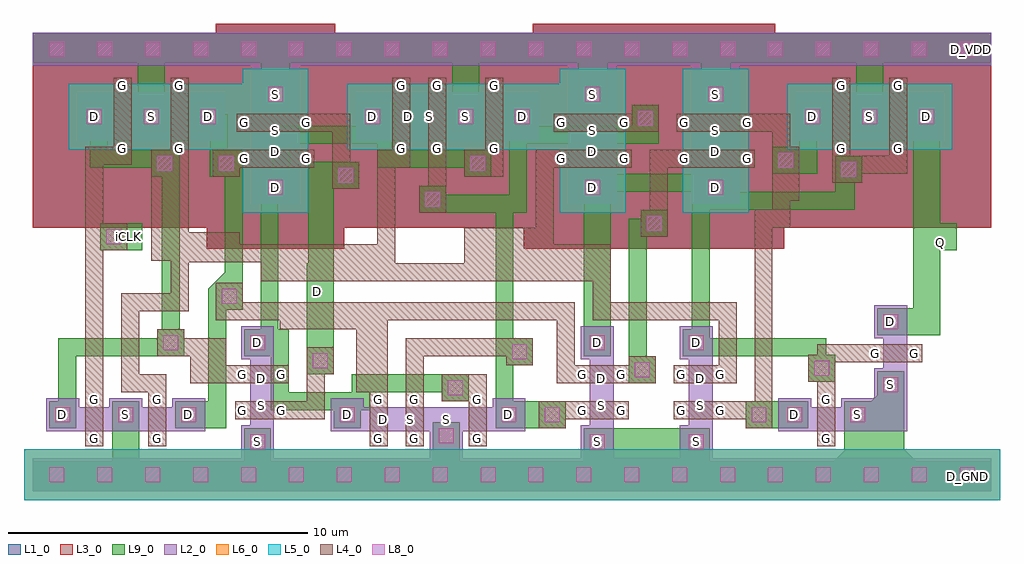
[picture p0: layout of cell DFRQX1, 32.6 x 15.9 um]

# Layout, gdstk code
import gdstk
lib = gdstk.Library(unit=1e-6, precision=1e-09)
def R(c, l, rs):  # rectangles x0, y0, x1, y1
    for r in rs: c.add(gdstk.rectangle(r[:2], r[2:], *l))
def A(c, l, x, y, w, h, nx, ny, dx, dy):  # array of equal rectangles
    R(c, l, [(x+i*dx, y+j*dy, x+i*dx+w, y+j*dy+h) for i in range(nx) for j in range(ny)])
def P(c, l, *ps):  # polygons
    for p in ps: c.add(gdstk.Polygon(p, *l))
L1_0 = (1, 0)
L2_0 = (2, 0)
L3_0 = (3, 0)
L4_0 = (4, 0)
L5_0 = (5, 0)
L6_0 = (6, 0)
L8_0 = (8, 0)
L9_0 = (9, 0)

dfrqx1 = lib.new_cell('DFRQX1')
A(dfrqx1, L1_0, 0, 8.8, 1.6, 6.5, 20, 1, 1.6, 0)
R(dfrqx1, L1_0, [(5.8,8.1,10.4,14.1), (16.4,8.1,21,14.1), (20.5,8.1,25.1,14.1), (5.8,9.3,10.4,15.3), (16.4,9.3,21,15.3), (20.5,9.3,25.1,15.3), (0,10.2,6,14.8), (1.9,10.2,7.9,14.8), (9.3,10.2,15.3,14.8), (10.5,10.2,16.5,14.8), (12.4,10.2,18.4,14.8), (24,10.2,30,14.8), (25.9,10.2,31.9,14.8), (6.1,15.3,10.1,15.6), (16.7,15.3,20.7,15.6), (20.7,15.3,24.8,15.6)])
A(dfrqx1, L2_0, 0, 0, 1.6, 1.1, 20, 2, 1.6, 14.2)
R(dfrqx1, L2_0, [(6.95,1.1,8.05,2.2), (13.25,1.1,14.35,2.8), (18.3,1.1,19.4,2.2), (21.6,1.1,22.7,2.2), (13.25,1.3,14.35,2.4), (0.45,2,1.55,3.1), (1.55,2,2.55,2.8), (2.55,2,3.65,3.1), (2.55,2,3.65,3.1), (3.65,2,4.65,2.8), (4.65,2,5.75,3.1), (9.95,2,11.05,3.1), (11.05,2,12.05,2.8), (11.15,2,12.25,2.8), (12.05,2,13.15,2.8), (12.25,2,13.25,2.8), (13.25,2,14.35,2.8), (13.25,2,14.35,2.8), (14.35,2,15.35,2.8), (15.35,2,16.45,3.1), (24.9,2,26,3.1), (26,2,27,2.8), (27,2,28.1,3.1), (28.05,2,29.2,3), (7.25,2.2,8.05,3.2), (18.6,2.2,19.4,3.2), (21.9,2.2,22.7,3.2), (7.25,2.3,8.05,3.4), (18.6,2.3,19.4,3.4), (21.9,2.3,22.7,3.4), (28.1,3,29.2,4.1), (7.25,3.2,8.05,4.3), (18.6,3.2,19.4,4.3), (21.9,3.2,22.7,4.3), (7.25,3.4,8.05,4.4), (18.6,3.4,19.4,4.4), (21.9,3.4,22.7,4.4), (28.4,4.1,29.2,5.1), (6.95,4.4,8.05,5.5), (18.3,4.4,19.4,5.5), (21.6,4.4,22.7,5.5), (28.1,5.1,29.2,6.2), (7.3,9.6,8.9,10.7), (17.9,9.6,19.5,10.7), (22,9.6,23.6,10.7), (7.3,10.7,8.9,11.5), (17.9,10.7,19.5,11.5), (22,10.7,23.6,11.5), (7.3,10.8,8.9,11.9), (17.9,10.8,19.5,11.9), (22,10.8,23.6,11.9), (7.3,11.5,8.9,12.6), (17.9,11.5,19.5,12.6), (22,11.5,23.6,12.6), (1.5,11.7,2.6,13.3), (2.6,11.7,3.4,13.3), (3.4,11.7,4.5,13.3), (3.4,11.7,4.5,13.3), (4.5,11.7,5.3,13.3), (5.3,11.7,6.4,13.3), (10.8,11.7,11.9,13.3), (11.9,11.7,12.7,13.3), (12,11.7,13.1,13.3), (12.7,11.7,13.8,13.3), (13.1,11.7,13.9,13.3), (13.9,11.7,15,13.3), (13.9,11.7,15,13.3), (15,11.7,15.8,13.3), (15.8,11.7,16.9,13.3), (25.5,11.7,26.6,13.3), (26.6,11.7,27.4,13.3), (27.4,11.7,28.5,13.3), (27.4,11.7,28.5,13.3), (28.5,11.7,29.3,13.3), (29.3,11.7,30.4,13.3), (7.3,11.9,8.9,12.7), (17.9,11.9,19.5,12.7), (22,11.9,23.6,12.7), (7.3,12.7,8.9,13.8), (17.9,12.7,19.5,13.8), (22,12.7,23.6,13.8), (7.3,13.8,8.9,14.2), (17.9,13.8,19.5,14.2), (22,13.8,23.6,14.2)])
A(dfrqx1, L3_0, 0, 8.8, 1.6, 6.5, 20, 1, 1.6, 0)
R(dfrqx1, L3_0, [(5.8,8.1,10.4,14.1), (16.4,8.1,21,14.1), (20.5,8.1,25.1,14.1), (5.8,9.3,10.4,15.3), (16.4,9.3,21,15.3), (20.5,9.3,25.1,15.3), (0,10.2,6,14.8), (1.9,10.2,7.9,14.8), (9.3,10.2,15.3,14.8), (10.5,10.2,16.5,14.8), (12.4,10.2,18.4,14.8), (24,10.2,30,14.8), (25.9,10.2,31.9,14.8), (6.1,15.3,10.1,15.6), (16.7,15.3,20.7,15.6), (20.7,15.3,24.8,15.6)])
R(dfrqx1, L4_0, [(1.75,1.5,2.35,2), (1.75,1.5,2.35,3.3), (3.85,1.5,4.45,2), (3.85,1.5,4.45,3.3), (11.25,1.5,11.85,2), (11.25,1.5,11.85,3.3), (12.45,1.5,13.05,2), (12.45,1.5,13.05,3.3), (14.55,1.5,15.15,2), (14.55,1.5,15.15,3.3), (26.2,1.5,26.8,2), (26.2,1.5,26.8,3.3), (16.9,2.1,17.8,3), (23.8,2.1,24.7,3), (6.75,2.4,7.25,3), (6.75,2.4,8.55,3), (8.05,2.4,8.55,3), (17.65,2.4,18.35,3), (18.1,2.4,18.6,3), (18.1,2.4,19.9,3), (19.4,2.4,19.9,3), (21.4,2.4,21.9,3), (21.4,2.4,23.2,3), (22.7,2.4,23.2,3), (14.55,2.7,15.15,3.9), (1.75,2.8,2.35,3.3), (3.85,2.8,4.45,3.3), (11.25,2.8,11.85,3.3), (12.45,2.8,13.05,3.3), (14.55,2.8,15.15,3.3), (26.2,2.8,26.8,3.3), (13.65,3,14.55,3.9), (6.75,3.6,7.25,4.2), (6.75,3.6,8.55,4.2), (8.05,3.6,8.55,4.2), (18.1,3.6,18.6,4.2), (18.1,3.6,19.9,4.2), (19.4,3.6,19.9,4.2), (19.9,3.6,20.8,4.5), (21.4,3.6,21.9,4.2), (21.4,3.6,23.2,4.2), (22.7,3.6,23.2,4.2), (25.9,3.65,26.8,4.55), (9.15,3.9,10.05,4.8), (11.4,3.9,11.85,5.7), (5.85,4.2,6.45,5.1), (15.8,4.2,16.7,5.1), (27.9,4.3,28.4,4.9), (27.9,4.3,29.7,4.9), (29.2,4.3,29.7,4.9), (4.15,4.5,5.05,5.4), (8.85,6,10.8,6.3), (10.8,6,11,6.3), (6.1,6.05,7,6.95), (7.6,7,11.5,7.65), (15,7,18.7,7.65), (5.2,7.65,5.4,8.65), (15,7.65,15.2,8.2), (3.95,7.7,4.6,10.5), (2.25,8.05,3.15,8.95), (5.4,8.25,6.9,8.65), (20.3,8.5,21.2,9.4), (12.9,9.3,13.8,10.2), (25.3,9.7,25.6,10.6), (10,10.1,10.9,11), (13.2,10.2,13.8,11.2), (26.7,10.3,26.8,11.2), (26.8,10.3,27.7,11.2), (3.95,10.5,4.85,11.4), (6,10.5,6.9,11.4), (14.4,10.5,15.3,11.4), (15.3,10.5,15.7,11.2), (24.7,10.6,25.6,11.5), (27.7,10.6,29.2,11.2), (6.8,10.8,9.4,11.4), (6.8,10.8,7.3,11.4), (8.9,10.8,9.4,11.4), (17.35,10.8,17.45,11.4), (17.4,10.8,20,11.4), (17.4,10.8,17.9,11.4), (19.5,10.8,20,11.4), (21.5,10.8,24.1,11.4), (21.5,10.8,22,11.4), (23.6,10.8,24.1,11.4), (2.7,11.2,3.3,13.8), (2.7,11.2,3.3,11.7), (4.6,11.2,5.2,13.8), (4.6,11.2,5.2,11.7), (12,11.2,12.6,13.8), (12,11.2,12.6,11.7), (13.2,11.2,13.8,13.8), (13.2,11.2,13.8,11.7), (15.1,11.2,15.7,13.8), (15.1,11.2,15.7,11.7), (26.7,11.2,27.3,13.8), (26.7,11.2,27.3,11.7), (28.6,11.2,29.2,13.8), (28.6,11.2,29.2,11.7), (6.8,12,9.4,12.6), (6.8,12,7.3,12.6), (8.9,12,9.4,12.6), (17.4,12,20,12.6), (17.4,12,17.9,12.6), (19.5,12,20,12.6), (20,12,20.9,12.9), (21.5,12,24.1,12.6), (21.5,12,22,12.6), (23.6,12,24.1,12.6), (2.7,13.3,3.3,13.8), (4.6,13.3,5.2,13.8), (12,13.3,12.6,13.8), (13.2,13.3,13.8,13.8), (15.1,13.3,15.7,13.8), (26.7,13.3,27.3,13.8), (28.6,13.3,29.2,13.8)])
P(dfrqx1, L4_0, [(12.45,2.7),(13.05,2.7),(13.05,4.5),(16.35,4.5),(16.35,5.1),(12.45,5.1)],
  [(4.35,4.5),(5.25,4.5),(5.25,3.6),(6.75,3.6),(6.75,4.2),(5.85,4.2),(5.85,5.1),(4.35,5.1)],
  [(10.8,3.3),(11.85,3.3),(11.85,3.9),(11.4,3.9),(11.4,5.4),(10.8,5.4)],
  [(8.55,2.4),(9.75,2.4),(9.75,4.5),(9.15,4.5),(9.15,3),(8.55,3)],
  [(26.2,3.3),(26.8,3.3),(26.8,4.3),(27.9,4.3),(27.9,4.9),(26.2,4.9)],
  [(20.65,5.7),(22.9,5.7),(22.9,3.6),(23.5,3.6),(23.5,6.3),(20.65,6.3)],
  [(11.5,7),(15,7),(15,8.2),(17.4,8.2),(17.4,11.4),(16.8,11.4),(16.8,8.8),(14.4,8.8),(14.4,7.6),(12.1,7.6),(12.1,7.65),(11.5,7.65)],
  [(23.15,2.4),(24.7,2.4),(24.7,8.8),(25.3,8.8),(25.3,12.6),(24.1,12.6),(24.1,12),(24.7,12),(24.7,9.4),(24.1,9.4),(24.1,3),(23.15,3)],
  [(6.1,5.7),(8.25,5.7),(8.25,5.4),(11.4,5.4),(11.4,6),(8.85,6),(8.85,6.3),(6.1,6.3)],
  [(11,5.7),(17.5,5.7),(17.5,3.6),(18.1,3.6),(18.1,6.3),(11,6.3)],
  [(5.4,7.65),(12.1,7.65),(12.1,10.8),(12.6,10.8),(12.6,11.4),(11.5,11.4),(11.5,8.25),(5.4,8.25)],
  [(15.2,7.65),(18.7,7.65),(18.7,5.7),(20.65,5.7),(20.65,6.3),(19.3,6.3),(19.3,8.25),(15.2,8.25)],
  [(2.95,3.3),(4.45,3.3),(4.45,3.9),(3.55,3.9),(3.55,6),(5.2,6),(5.2,11.2),(4.6,11.2),(4.6,6.6),(2.95,6.6)],
  [(9.4,12),(10,12),(10,10.4),(10.6,10.4),(10.6,12.6),(9.4,12.6)],
  [(1.75,3.3),(2.35,3.3),(2.35,10.9),(3.3,10.9),(3.3,11.5),(1.75,11.5)],
  [(20.6,9.4),(21.2,9.4),(21.2,10.8),(21.5,10.8),(21.5,11.4),(20.6,11.4)])
A(dfrqx1, L5_0, 1.6, -0.3, 1.6, 1.7, 18, 1, 1.6, 0)
R(dfrqx1, L5_0, [(-0.3,-0.3,1.6,1.4), (30.4,-0.3,32.3,1.4), (7,9.3,9.2,12.9), (17.6,9.3,19.8,12.9), (21.7,9.3,23.9,12.9), (7,10.5,9.2,14.1), (17.6,10.5,19.8,14.1), (21.7,10.5,23.9,14.1), (1.2,11.4,4.8,13.6), (3.1,11.4,6.7,13.6), (6.7,11.4,7,13.6), (10.5,11.4,14.1,13.6), (11.7,11.4,15.3,13.6), (13.6,11.4,17.2,13.6), (17.2,11.4,17.65,13.6), (25.2,11.4,28.8,13.6), (27.1,11.4,30.7,13.6)])
A(dfrqx1, L6_0, 1.6, -0.3, 1.6, 1.7, 18, 1, 1.6, 0)
R(dfrqx1, L6_0, [(-0.3,-0.3,1.6,1.4), (30.4,-0.3,32.3,1.4), (7,9.3,9.2,12.9), (17.6,9.3,19.8,12.9), (21.7,9.3,23.9,12.9), (7,10.5,9.2,14.1), (17.6,10.5,19.8,14.1), (21.7,10.5,23.9,14.1), (1.2,11.4,4.8,13.6), (3.1,11.4,6.7,13.6), (6.7,11.4,7,13.6), (10.5,11.4,14.1,13.6), (11.7,11.4,15.3,13.6), (13.6,11.4,17.2,13.6), (17.2,11.4,17.65,13.6), (25.2,11.4,28.8,13.6), (27.1,11.4,30.7,13.6)])
A(dfrqx1, L8_0, 0.55, 0.3, 0.5, 0.5, 20, 2, 1.6, 14.2)
R(dfrqx1, L8_0, [(7.25,1.4,7.75,1.9), (18.6,1.4,19.1,1.9), (21.9,1.4,22.4,1.9), (13.55,1.6,14.05,2.1), (0.75,2.3,1.25,2.8), (2.85,2.3,3.35,2.8), (2.85,2.3,3.35,2.8), (4.95,2.3,5.45,2.8), (10.25,2.3,10.75,2.8), (15.65,2.3,16.15,2.8), (17.1,2.3,17.6,2.8), (24,2.3,24.5,2.8), (25.2,2.3,25.7,2.8), (27.3,2.3,27.8,2.8), (13.85,3.2,14.35,3.7), (28.4,3.3,28.9,3.8), (20.1,3.8,20.6,4.3), (26.1,3.85,26.6,4.35), (9.35,4.1,9.85,4.6), (16,4.4,16.5,4.9), (4.35,4.7,4.85,5.2), (7.25,4.7,7.75,5.2), (18.6,4.7,19.1,5.2), (21.9,4.7,22.4,5.2), (28.4,5.4,28.9,5.9), (6.3,6.25,6.8,6.75), (2.45,8.25,2.95,8.75), (20.5,8.7,21,9.2), (13.1,9.5,13.6,10), (7.85,9.9,8.35,10.4), (18.45,9.9,18.95,10.4), (22.55,9.9,23.05,10.4), (10.2,10.3,10.7,10.8), (27,10.5,27.5,11), (4.15,10.7,4.65,11.2), (6.2,10.7,6.7,11.2), (14.6,10.7,15.1,11.2), (24.9,10.8,25.4,11.3), (20.2,12.2,20.7,12.7), (1.8,12.25,2.3,12.75), (3.7,12.25,4.2,12.75), (3.7,12.25,4.2,12.75), (5.6,12.25,6.1,12.75), (11.1,12.25,11.6,12.75), (14.2,12.25,14.7,12.75), (14.2,12.25,14.7,12.75), (16.1,12.25,16.6,12.75), (25.8,12.25,26.3,12.75), (27.7,12.25,28.2,12.75), (27.7,12.25,28.2,12.75), (29.6,12.25,30.1,12.75), (7.85,13,8.35,13.5), (18.45,13,18.95,13.5), (22.55,13,23.05,13.5)])
A(dfrqx1, L9_0, 0, 0, 1.6, 1, 20, 2, 1.6, 14.3)
R(dfrqx1, L9_0, [(30.75,0.05,31.65,0.95), (2.65,0.95,3.55,2.1), (21.7,0.95,22.6,1.2), (7.05,1,7.95,1.2), (13.35,1,14.25,1.4), (18.4,1,19.3,1.2), (19.3,1,21.7,2.1), (7.05,1.2,7.95,2.1), (18.4,1.2,19.3,2.1), (21.7,1.2,22.6,2.1), (13.35,1.4,14.25,2.3), (0.55,2.1,1.45,3), (2.65,2.1,3.55,3), (2.65,2.1,3.55,3), (4.75,2.1,5.65,3), (10.05,2.1,10.95,3), (15.45,2.1,16.35,3), (15.95,2.1,17.75,2.7), (16.9,2.1,17.8,3), (23.8,2.1,24.7,3), (24.7,2.1,25,3), (25,2.1,25.9,3), (27.1,2.1,28,3), (15.45,2.4,16.05,9.9), (5.65,2.65,5.85,3), (15.8,2.7,16.95,3), (13.65,3,14.55,3.9), (28.2,3.1,29.1,4), (11.5,3.3,14.25,3.9), (19.9,3.6,20.8,4.5), (25.9,3.65,26.8,4.55), (9.15,3.9,10.05,4.8), (15.8,4.2,16.7,5.1), (4.15,4.5,5.05,5.4), (7.05,4.5,7.95,5.4), (18.4,4.5,19.3,5.4), (21.7,4.5,22.6,5.4), (9.75,4.8,10.05,6.65), (28.2,5.2,29.1,6.1), (4.3,5.4,4.9,11.4), (18.4,5.4,19.3,10), (6.1,6.05,7,6.95), (9.15,6.35,10.05,7.25), (9.8,7,10.05,10.1), (2.25,8.05,3.15,8.95), (2.75,8.05,3.65,8.95), (29.95,8.05,30.85,8.95), (20.3,8.5,21.2,9.4), (12.9,9.3,13.8,10.2), (22.6,9.4,22.75,9.7), (7.6,9.7,8.6,10.6), (18.2,9.7,19.2,10.6), (22.3,9.7,23.3,10.6), (18.65,10,22.95,10.6), (26.8,10,26.85,10.3), (10,10.1,10.9,11), (26.8,10.3,27.7,11.2), (3.95,10.5,4.85,11.4), (5.9,10.5,7,11.4), (6,10.5,6.9,11.4), (14.4,10.5,15.3,11.4), (24.7,10.6,25.6,11.5), (25.6,10.6,26.2,12.6), (9.2,10.7,10,11), (16.4,11.6,20.9,12.2), (1.6,12,2.5,13), (3.5,12,4.4,13), (3.5,12,4.4,13), (5.4,12,6.3,13), (10.9,12,11.8,13), (14,12,14.9,13), (14,12,14.9,13), (15.9,12,16.8,13), (20,12,20.9,12.9), (25.6,12,26.5,13), (27.5,12,28.4,13), (27.5,12,28.4,13), (29.4,12,30.3,13), (7.6,12.8,8.6,13.7), (18.2,12.8,19.2,13.7), (22.3,12.8,23.3,13.7), (3.5,13,4.4,14.3), (14,13,14.9,14.3), (27.5,13,28.4,14.3), (22.3,13.65,23.3,14.75), (7.6,13.7,8.6,14.95), (18.2,13.7,19.2,14.9), (30.9,14.3,31.8,15.2)])
P(dfrqx1, L9_0, [(22,4.8),(22.6,4.8),(22.6,9.7),(22.95,9.7),(22.95,10.3),(22,10.3)],
  [(19.9,3.9),(20.5,3.9),(20.5,8.5),(20.95,8.5),(20.95,9.1),(19.9,9.1)],
  [(10.65,2.7),(11.25,2.7),(11.25,3.3),(11.5,3.3),(11.5,3.9),(10.65,3.9)],
  [(1.9,10.8),(3.95,10.8),(3.95,11.4),(2.5,11.4),(2.5,12),(1.9,12)],
  [(22,4.5),(25.9,4.5),(25.9,3.9),(26.5,3.9),(26.5,5.1),(22,5.1)],
  [(0.85,3),(1.45,3),(1.45,4.5),(4.15,4.5),(4.15,5.1),(0.85,5.1)],
  [(7.95,2.7),(10.65,2.7),(10.65,3.3),(8.55,3.3),(8.55,5.4),(7.95,5.4)],
  [(6.4,6.65),(6.4,7.3),(5.85,6.75),(5.85,6.65)],
  [(29.1,5.2),(30.3,5.2),(30.3,12),(29.4,12),(29.4,6.1),(29.1,6.1)],
  [(29.5,1),(29.1,1.4),(29.1,3.2),(28.2,3.2),(28,3),(28,2.1),(27.1,2.1),(27.1,1.35),(26.75,1)],
  [(9.15,4.8),(9.75,4.8),(9.75,7),(9.8,7),(9.8,10.1),(10.6,10.1),(10.6,10.7),(9.2,10.7),(9.2,7.6),(9.15,7.6)],
  [(7.25,4.8),(8.2,4.8),(8.2,10.3),(7.6,10.3),(7.6,5.4),(7.25,5.4)],
  [(22.75,9.4),(27.45,9.4),(27.45,10.9),(26.85,10.9),(26.85,10),(23.35,10),(23.35,10.3),(22.75,10.3)],
  [(8,10.6),(8.6,10.6),(8.6,11.6),(11.8,11.6),(11.8,12.2),(8,12.2)],
  [(11.5,10.8),(14.4,10.8),(14.4,11.4),(12.1,11.4),(12.1,13),(11.5,13)],
  [(13.2,9.3),(16.5,9.3),(16.5,12.6),(15.9,12.6),(15.9,9.9),(13.2,9.9)],
  [(5.9,10.8),(6.6,10.8),(6.6,11.4),(6.5,11.4),(6.5,12.6),(5.9,12.6)],
  [(5.25,2.1),(6.45,2.1),(6.45,6.05),(7,6.05),(7,11.1),(6.3,11.1),(6.3,10.5),(6.4,10.5),(6.4,6.65),(5.85,6.65),(5.85,2.7),(5.25,2.7)])
dfrqx1.add(gdstk.Label('G', (21.752,11.1), layer=4, texttype=0))
dfrqx1.add(gdstk.Label('G', (23.852,11.1), layer=4, texttype=0))
dfrqx1.add(gdstk.Label('S', (22.801,12.051), layer=2, texttype=0))
dfrqx1.add(gdstk.Label('D', (22.801,10.151), layer=9, texttype=0))
dfrqx1.add(gdstk.Label('G', (13.5,11.452), layer=4, texttype=0))
dfrqx1.add(gdstk.Label('G', (13.5,13.552), layer=4, texttype=0))
dfrqx1.add(gdstk.Label('S', (14.451,12.501), layer=9, texttype=0))
dfrqx1.add(gdstk.Label('D', (12.551,12.501), layer=2, texttype=0))
dfrqx1.add(gdstk.Label('G', (28.9,11.452), layer=4, texttype=0))
dfrqx1.add(gdstk.Label('G', (28.9,13.552), layer=4, texttype=0))
dfrqx1.add(gdstk.Label('S', (27.949,12.501), layer=9, texttype=0))
dfrqx1.add(gdstk.Label('D', (29.849,12.501), layer=9, texttype=0))
dfrqx1.add(gdstk.Label('G', (8.298,3.9), layer=4, texttype=0))
dfrqx1.add(gdstk.Label('G', (6.998,3.9), layer=4, texttype=0))
dfrqx1.add(gdstk.Label('S', (7.649,2.849), layer=2, texttype=0))
dfrqx1.add(gdstk.Label('D', (7.499,4.949), layer=9, texttype=0))
dfrqx1.add(gdstk.Label('G', (12.3,11.452), layer=4, texttype=0))
dfrqx1.add(gdstk.Label('G', (12.3,13.552), layer=4, texttype=0))
dfrqx1.add(gdstk.Label('S', (13.251,12.501), layer=2, texttype=0))
dfrqx1.add(gdstk.Label('D', (11.351,12.501), layer=9, texttype=0))
dfrqx1.add(gdstk.Label('G', (15.4,11.452), layer=4, texttype=0))
dfrqx1.add(gdstk.Label('G', (15.4,13.552), layer=4, texttype=0))
dfrqx1.add(gdstk.Label('S', (14.449,12.501), layer=9, texttype=0))
dfrqx1.add(gdstk.Label('D', (16.349,12.501), layer=9, texttype=0))
dfrqx1.add(gdstk.Label('D', (22.299,3.749), layer=2, texttype=0))
dfrqx1.add(gdstk.Label('G', (22.948,2.7), layer=4, texttype=0))
dfrqx1.add(gdstk.Label('G', (21.648,2.7), layer=4, texttype=0))
dfrqx1.add(gdstk.Label('S', (22.149,1.649), layer=9, texttype=0))
dfrqx1.add(gdstk.Label('G', (21.752,12.3), layer=4, texttype=0))
dfrqx1.add(gdstk.Label('G', (23.852,12.3), layer=4, texttype=0))
dfrqx1.add(gdstk.Label('S', (22.801,13.251), layer=9, texttype=0))
dfrqx1.add(gdstk.Label('D', (22.801,11.351), layer=2, texttype=0))
dfrqx1.add(gdstk.Label('G', (17.652,11.1), layer=4, texttype=0))
dfrqx1.add(gdstk.Label('G', (19.752,11.1), layer=4, texttype=0))
dfrqx1.add(gdstk.Label('S', (18.701,12.051), layer=2, texttype=0))
dfrqx1.add(gdstk.Label('D', (18.701,10.151), layer=9, texttype=0))
dfrqx1.add(gdstk.Label('G', (27,11.452), layer=4, texttype=0))
dfrqx1.add(gdstk.Label('G', (27,13.552), layer=4, texttype=0))
dfrqx1.add(gdstk.Label('S', (27.951,12.501), layer=9, texttype=0))
dfrqx1.add(gdstk.Label('D', (26.051,12.501), layer=9, texttype=0))
dfrqx1.add(gdstk.Label('D', (11.701,2.401), layer=2, texttype=0))
dfrqx1.add(gdstk.Label('G', (12.75,1.752), layer=4, texttype=0))
dfrqx1.add(gdstk.Label('G', (12.75,3.052), layer=4, texttype=0))
dfrqx1.add(gdstk.Label('S', (13.801,2.401), layer=2, texttype=0))
dfrqx1.add(gdstk.Label('D', (18.999,3.749), layer=2, texttype=0))
dfrqx1.add(gdstk.Label('G', (19.648,2.7), layer=4, texttype=0))
dfrqx1.add(gdstk.Label('G', (18.348,2.7), layer=4, texttype=0))
dfrqx1.add(gdstk.Label('S', (18.849,1.649), layer=9, texttype=0))
dfrqx1.add(gdstk.Label('G', (26.5,1.752), layer=4, texttype=0))
dfrqx1.add(gdstk.Label('G', (26.5,3.052), layer=4, texttype=0))
dfrqx1.add(gdstk.Label('S', (27.551,2.551), layer=9, texttype=0))
dfrqx1.add(gdstk.Label('D', (25.451,2.551), layer=9, texttype=0))
dfrqx1.add(gdstk.Label('G', (7.052,12.3), layer=4, texttype=0))
dfrqx1.add(gdstk.Label('G', (9.152,12.3), layer=4, texttype=0))
dfrqx1.add(gdstk.Label('S', (8.101,13.251), layer=9, texttype=0))
dfrqx1.add(gdstk.Label('D', (8.101,11.351), layer=2, texttype=0))
dfrqx1.add(gdstk.Label('G', (19.648,3.9), layer=4, texttype=0))
dfrqx1.add(gdstk.Label('G', (18.348,3.9), layer=4, texttype=0))
dfrqx1.add(gdstk.Label('S', (18.999,2.849), layer=2, texttype=0))
dfrqx1.add(gdstk.Label('D', (18.849,4.949), layer=9, texttype=0))
dfrqx1.add(gdstk.Label('G', (2.05,1.752), layer=4, texttype=0))
dfrqx1.add(gdstk.Label('G', (2.05,3.052), layer=4, texttype=0))
dfrqx1.add(gdstk.Label('S', (3.101,2.551), layer=9, texttype=0))
dfrqx1.add(gdstk.Label('D', (1.001,2.551), layer=9, texttype=0))
dfrqx1.add(gdstk.Label('G', (17.652,12.3), layer=4, texttype=0))
dfrqx1.add(gdstk.Label('G', (19.752,12.3), layer=4, texttype=0))
dfrqx1.add(gdstk.Label('S', (18.701,13.251), layer=9, texttype=0))
dfrqx1.add(gdstk.Label('D', (18.701,11.351), layer=2, texttype=0))
dfrqx1.add(gdstk.Label('G', (4.15,1.752), layer=4, texttype=0))
dfrqx1.add(gdstk.Label('G', (4.15,3.052), layer=4, texttype=0))
dfrqx1.add(gdstk.Label('S', (3.099,2.551), layer=9, texttype=0))
dfrqx1.add(gdstk.Label('D', (5.199,2.551), layer=9, texttype=0))
dfrqx1.add(gdstk.Label('G', (3,11.452), layer=4, texttype=0))
dfrqx1.add(gdstk.Label('G', (3,13.552), layer=4, texttype=0))
dfrqx1.add(gdstk.Label('S', (3.951,12.501), layer=9, texttype=0))
dfrqx1.add(gdstk.Label('D', (2.051,12.501), layer=9, texttype=0))
dfrqx1.add(gdstk.Label('G', (14.85,1.752), layer=4, texttype=0))
dfrqx1.add(gdstk.Label('G', (14.85,3.052), layer=4, texttype=0))
dfrqx1.add(gdstk.Label('S', (13.799,2.401), layer=2, texttype=0))
dfrqx1.add(gdstk.Label('D', (15.899,2.551), layer=9, texttype=0))
dfrqx1.add(gdstk.Label('G', (4.9,11.452), layer=4, texttype=0))
dfrqx1.add(gdstk.Label('G', (4.9,13.552), layer=4, texttype=0))
dfrqx1.add(gdstk.Label('S', (3.949,12.501), layer=9, texttype=0))
dfrqx1.add(gdstk.Label('D', (5.849,12.501), layer=9, texttype=0))
dfrqx1.add(gdstk.Label('G', (11.55,1.752), layer=4, texttype=0))
dfrqx1.add(gdstk.Label('G', (11.55,3.052), layer=4, texttype=0))
dfrqx1.add(gdstk.Label('S', (12.601,2.401), layer=2, texttype=0))
dfrqx1.add(gdstk.Label('D', (10.501,2.551), layer=9, texttype=0))
dfrqx1.add(gdstk.Label('G', (22.948,3.9), layer=4, texttype=0))
dfrqx1.add(gdstk.Label('G', (21.648,3.9), layer=4, texttype=0))
dfrqx1.add(gdstk.Label('S', (22.299,2.849), layer=2, texttype=0))
dfrqx1.add(gdstk.Label('D', (22.149,4.949), layer=9, texttype=0))
dfrqx1.add(gdstk.Label('G', (29.448,4.6), layer=4, texttype=0))
dfrqx1.add(gdstk.Label('G', (28.148,4.6), layer=4, texttype=0))
dfrqx1.add(gdstk.Label('S', (28.649,3.549), layer=9, texttype=0))
dfrqx1.add(gdstk.Label('D', (28.649,5.649), layer=9, texttype=0))
dfrqx1.add(gdstk.Label('G', (7.052,11.1), layer=4, texttype=0))
dfrqx1.add(gdstk.Label('G', (9.152,11.1), layer=4, texttype=0))
dfrqx1.add(gdstk.Label('S', (8.101,12.051), layer=2, texttype=0))
dfrqx1.add(gdstk.Label('D', (8.101,10.151), layer=9, texttype=0))
dfrqx1.add(gdstk.Label('D', (7.649,3.749), layer=2, texttype=0))
dfrqx1.add(gdstk.Label('G', (8.298,2.7), layer=4, texttype=0))
dfrqx1.add(gdstk.Label('G', (6.998,2.7), layer=4, texttype=0))
dfrqx1.add(gdstk.Label('S', (7.499,1.649), layer=9, texttype=0))
dfrqx1.add(gdstk.Label('D', (9.5,6.65), layer=50, texttype=0))
dfrqx1.add(gdstk.Label('iCLK', (3.2,8.5), layer=50, texttype=0))
dfrqx1.add(gdstk.Label('D_GND', (31.2,0.5), layer=50, texttype=0))
dfrqx1.add(gdstk.Label('Q', (30.3,8.3), layer=50, texttype=0))
dfrqx1.add(gdstk.Label('D_VDD', (31.35,14.75), layer=50, texttype=0))

lib.write_gds('DFRQX1.gds')
